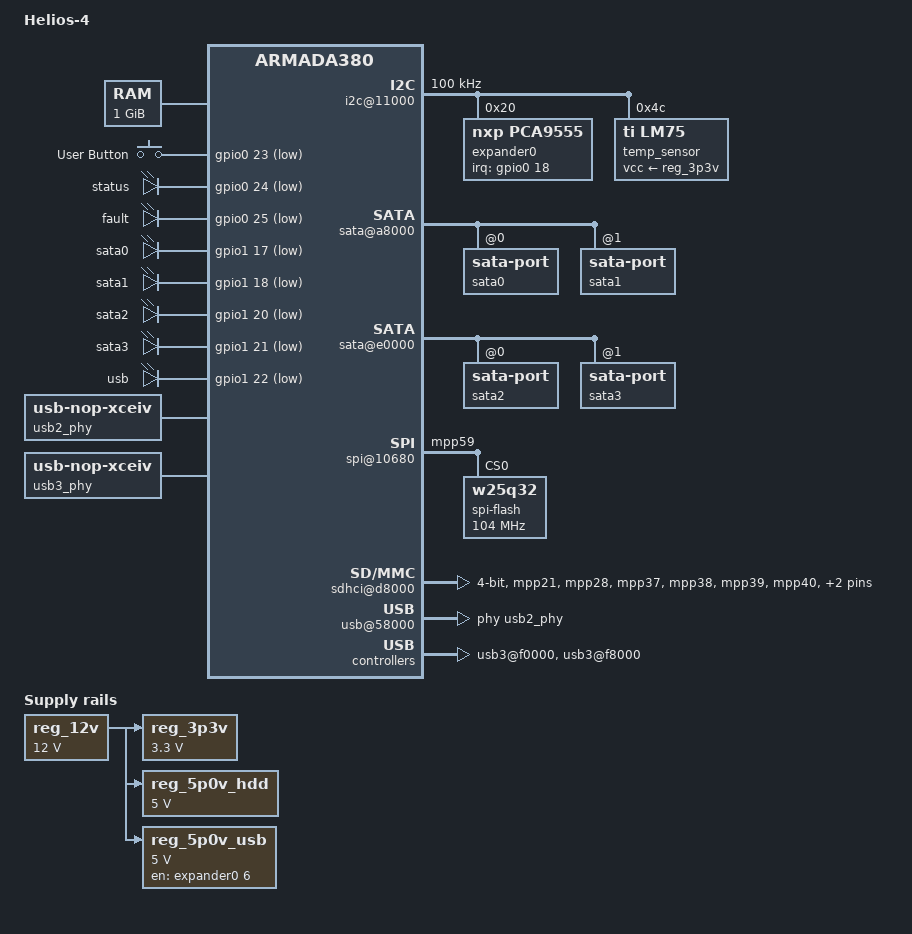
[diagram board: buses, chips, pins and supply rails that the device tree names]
/*
 * Device Tree file for Helios-4
 * based on SolidRun Clearfog revision A1 rev 2.0 (88F6828)
 *
 *  Copyright (C) 2017
 *
 */

/dts-v1/;
#include "armada-388.dtsi"
#include "armada-38x-solidrun-microsom.dtsi"

/ {
	model = "Helios-4";
	compatible = "marvell,armada388",
		"marvell,armada385", "marvell,armada380";

	memory {
		device_type = "memory";
		reg = <0x00000000 0x40000000>; /* 1 GB */
	};

	aliases {
		/* So that mvebu u-boot can update the MAC addresses */
		ethernet1 = &eth0;
	};

	chosen {
		stdout-path = "serial0:115200n8";
	};

	reg_12v: regulator-12v {
		compatible = "regulator-fixed";
		regulator-name = "power_brick_12V";
		regulator-min-microvolt = <12000000>;
		regulator-max-microvolt = <12000000>;
		regulator-always-on;
	};

	reg_3p3v: regulator-3p3v {
		compatible = "regulator-fixed";
		regulator-name = "3P3V";
		regulator-min-microvolt = <3300000>;
		regulator-max-microvolt = <3300000>;
		regulator-always-on;
		vin-supply = <&reg_12v>;
	};

	reg_5p0v_hdd: regulator-5v-hdd {
		compatible = "regulator-fixed";
		regulator-name = "5V_HDD";
		regulator-min-microvolt = <5000000>;
		regulator-max-microvolt = <5000000>;
		regulator-always-on;
		vin-supply = <&reg_12v>;
	};

	reg_5p0v_usb: regulator-5v-usb {
		compatible = "regulator-fixed";
		regulator-name = "USB-PWR";
		regulator-min-microvolt = <5000000>;
		regulator-max-microvolt = <5000000>;
		regulator-boot-on;
		regulator-always-on;
		enable-active-high;
		gpio = <&expander0 6 GPIO_ACTIVE_HIGH>;
		vin-supply = <&reg_12v>;
	};

	gpio-keys {
		compatible = "gpio-keys";
		pinctrl-0 = <&user_button_pins>;
		pinctrl-names = "default";

		button_0 {
			label = "User Button";
			gpios = <&gpio0 23 GPIO_ACTIVE_LOW>;
			linux,can-disable;
			linux,code = <BTN_0>;
		};
	};

	system-leds {
		compatible = "gpio-leds";
		status_led {
			label = "status";
			gpios = <&gpio0 24 GPIO_ACTIVE_LOW>;
			linux,default-trigger = "heartbeat";
			default-state = "on";
		};

		fault_led {
			label = "fault";
			gpios = <&gpio0 25 GPIO_ACTIVE_LOW>;
			default-state = "keep";
		};
	};

	io-leds {
		compatible = "gpio-leds";
		sata0_led: led@sata0 {
			label = "sata0";
			gpios = <&gpio1 17 GPIO_ACTIVE_LOW>;
			default-state = "off";
		};
		sata1_led: led@sata1 {
			label = "sata1";
			gpios = <&gpio1 18 GPIO_ACTIVE_LOW>;
			default-state = "off";
		};
		sata2_led: led@sata2 {
			label = "sata2";
			gpios = <&gpio1 20 GPIO_ACTIVE_LOW>;
			default-state = "off";
		};
		sata3_led: led@sata3 {
			label = "sata3";
			gpios = <&gpio1 21 GPIO_ACTIVE_LOW>;
			default-state = "off";
		};
		usb3_led: led@usb {
			label = "usb";
			gpios = <&gpio1 22 GPIO_ACTIVE_LOW>;
			linux,default-trigger = "usb-host";
			default-state = "off";
		};
	};

	usb2_phy: usb2-phy {
		compatible = "usb-nop-xceiv";
		vbus-regulator = <&reg_5p0v_usb>;
	};

	usb3_phy: usb3-phy {
		compatible = "usb-nop-xceiv";
		//vbus-regulator = <&reg_5p0v_usb>;
	};

	soc {
		internal-regs {
			i2c@11000 {
				clock-frequency = <100000>;
				pinctrl-0 = <&i2c0_pins>;
				pinctrl-names = "default";
				status = "okay";

				/*
				 * PCA9655 GPIO expander, up to 1MHz clock.
				 *  0-Board Revision bit 0 #
				 *  1-Board Revision bit 1 #
				 *  5-USB3 overcurrent
				 *  6-USB3 power
				 */
				expander0: gpio-expander@20 {
					/*
					 * This is how it should be:
					 * compatible = "onnn,pca9655",
					 *	 "nxp,pca9555";
					 * but you can't do this because of
					 * the way I2C works.
					 */
					compatible = "nxp,pca9555";
					gpio-controller;
					#gpio-cells = <2>;
					reg = <0x20>;
					pinctrl-names = "default";
					pinctrl-0 = <&pca0_pins>;
					interrupt-parent = <&gpio0>;
					interrupts = <18 IRQ_TYPE_EDGE_FALLING>;
					interrupt-controller;
					#interrupt-cells = <2>;

					board_rev_bit_0 {
						gpio-hog;
						gpios = <0 GPIO_ACTIVE_LOW>;
						input;
						line-name = "board-rev-0";
					};
					board_rev_bit_1 {
						gpio-hog;
						gpios = <1 GPIO_ACTIVE_LOW>;
						input;
						line-name = "board-rev-1";
					};
					usb3_ilimit {
						gpio-hog;
						gpios = <5 GPIO_ACTIVE_HIGH>;
						input;
						line-name = "usb-overcurrent-status";
					};
				};

				temp_sensor: temp@4c {
					compatible = "ti,lm75";
					reg = <0x4c>;
					vcc-supply = <&reg_3p3v>;
				};

				/* What device at 0x64 ? */
			};

			sata@a8000 {
				status = "okay";
				#address-cells = <1>;
				#size-cells = <0>;

				sata0: sata-port@0 {
					reg = <0>;
				};

				sata1: sata-port@1 {
					reg = <1>;
				};
			};

			sata@e0000 {
				status = "okay";
				#address-cells = <1>;
				#size-cells = <0>;

				sata2: sata-port@0 {
					reg = <0>;
				};

				sata3: sata-port@1 {
					reg = <1>;
				};
			};

			spi@10680 {
				pinctrl-0 = <&spi1_pins
					     &microsom_spi1_cs_pins>;
				pinctrl-names = "default";
				status = "okay";

				spi-flash@0 {
					#address-cells = <1>;
					#size-cells = <1>;
					compatible = "w25q32", "jedec,spi-nor";
					reg = <0>; /* Chip select 0 */
					spi-max-frequency = <104000000>;
					spi-cpha;
					status = "okay";
				};
			};

			sdhci@d8000 {
				bus-width = <4>;
				cd-gpios = <&gpio0 20 GPIO_ACTIVE_LOW>;
				no-1-8-v;
				pinctrl-0 = <&helios_sdhci_pins
					     &helios_sdhci_cd_pins>;
				pinctrl-names = "default";
				status = "okay";
				vmmc = <&reg_3p3v>;
				wp-inverted;
				max-frequency = <50000000>;
				cap-sd-highspeed;
				sd-uhs-sdr12;
				sd-uhs-sdr25;
				sd-uhs-sdr50;
				keep-power-in-suspend;
				wakeup-source;
			};

			usb@58000 {
				//vcc-supply = <&reg_5p0v_usb>;
				usb-phy = <&usb2_phy>;
				status = "okay";
			};

			usb3@f0000 {
				status = "okay";
			};

			usb3@f8000 {
				status = "okay";
			};

			pinctrl@18000 {
				pca0_pins: pca0_pins {
					marvell,pins = "mpp18";
					marvell,function = "gpio";
				};
				helios_sdhci_cd_pins: helios-sdhci-cd-pins {
					marvell,pins = "mpp20";
					marvell,function = "gpio";
				};
				helios_sdhci_pins: helios-sdhci-pins {
					marvell,pins = "mpp21", "mpp28",
						       "mpp37", "mpp38",
						       "mpp39", "mpp40";
					marvell,function = "sd0";
				};
				helios_led_pins: helios-led-pins {
					marvell,pins = "mpp24", "mpp25",
						       "mpp49", "mpp50",
						       "mpp52", "mpp53",
						       "mpp54";
					marvell,function = "gpio";
				};
				helios_fan_pins: helios-fan-pins {
					marvell,pins = "mpp41", "mpp43",
						       "mpp48", "mpp55";
					marvell,function = "gpio";
				};
				microsom_spi1_cs_pins: spi1-cs-pins {
					marvell,pins = "mpp59";
					marvell,function = "spi1";
				};
				user_button_pins: user-button-pins {
					marvell,pins = "mpp23";
					marvell,function = "gpio";
				};
			};
		};
	};
};
